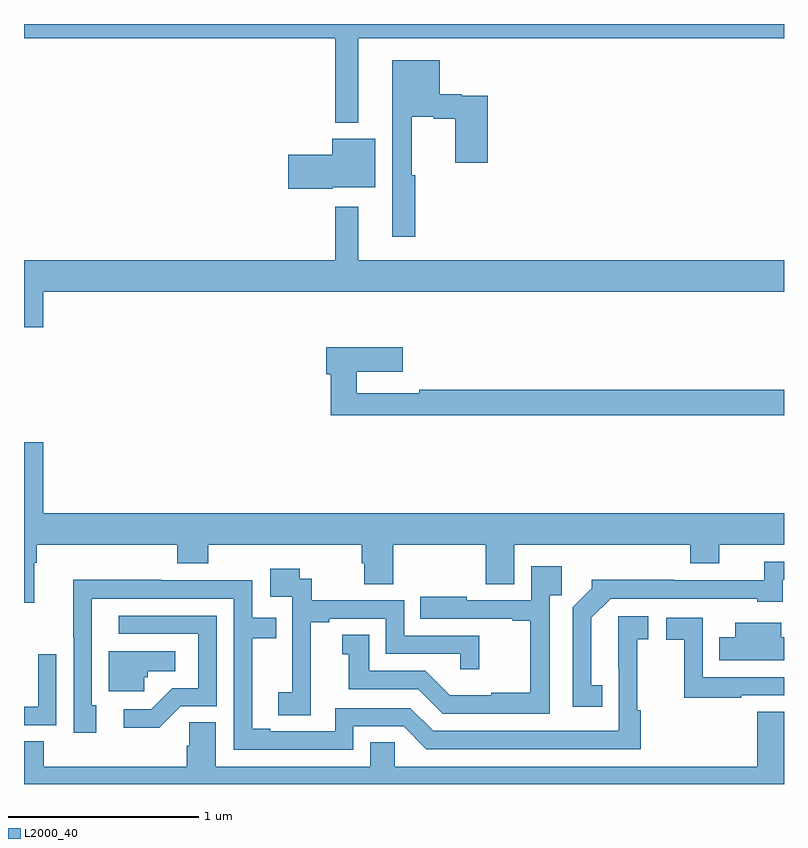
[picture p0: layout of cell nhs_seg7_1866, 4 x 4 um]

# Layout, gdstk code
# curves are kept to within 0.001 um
import gdstk
lib = gdstk.Library(unit=1e-6, precision=1e-09)
def P(c, l, *ps):  # polygons
    for p in ps: c.add(gdstk.Polygon(p, *l))
L2000_40 = (2000, 40)

nhs_seg7_1866 = lib.new_cell('nhs_seg7_1866')
P(nhs_seg7_1866, L2000_40, [(238.759,1025.924),(241,1025.924),(241,1026),(237,1026),(237,1025.924),(238.638,1025.924),(238.638,1025.48),(238.759,1025.48)],
  [(239.059,1025.205),(239.041,1025.205),(239.041,1025.513),(239.156,1025.513),(239.156,1025.501),(239.27,1025.501),(239.27,1025.271),(239.441,1025.271),(239.441,1025.623),(239.304,1025.623),(239.304,1025.631),(239.188,1025.631),(239.188,1025.809),(238.937,1025.809),(238.937,1024.881),(239.059,1024.881)],
  [(238.626,1025.141),(238.849,1025.141),(238.849,1025.395),(238.622,1025.395),(238.622,1025.312),(238.392,1025.312),(238.392,1025.134),(238.626,1025.134)],
  [(237.1,1024.592),(241,1024.592),(241,1024.756),(238.759,1024.756),(238.759,1025.038),(238.638,1025.038),(238.638,1024.756),(237,1024.756),(237,1024.404),(237.1,1024.404)],
  [(241,1024.076),(239.08,1024.076),(239.08,1024.056),(238.751,1024.056),(238.751,1024.169),(238.993,1024.169),(238.993,1024.299),(238.592,1024.299),(238.592,1024.157),(238.615,1024.157),(238.615,1023.94),(241,1023.94)],
  [(237.055,1023.164),(237.068,1023.164),(237.068,1023.26),(237.806,1023.26),(237.806,1023.161),(237.971,1023.161),(237.971,1023.26),(238.778,1023.26),(238.778,1023.162),(238.79,1023.162),(238.79,1023.052),(238.943,1023.052),(238.943,1023.26),(239.429,1023.26),(239.429,1023.052),(239.581,1023.052),(239.581,1023.26),(240.506,1023.26),(240.506,1023.161),(240.658,1023.161),(240.658,1023.26),(241,1023.26),(241,1023.424),(237.1,1023.424),(237.1,1023.799),(237,1023.799),(237,1022.953),(237.055,1022.953)],
  [(240.044,1022.519),(239.986,1022.519),(239.986,1022.875),(240.087,1022.976),(240.858,1022.976),(240.858,1022.96),(240.994,1022.96),(240.994,1023.075),(241,1023.075),(241,1023.171),(240.895,1023.171),(240.895,1023.072),(240.422,1023.072),(240.422,1023.074),(239.988,1023.074),(239.988,1023.029),(239.889,1022.93),(239.889,1022.406),(240.044,1022.406)],
  [(239.766,1022.993),(239.831,1022.993),(239.831,1023.145),(239.67,1023.145),(239.67,1022.967),(239.329,1022.967),(239.329,1022.986),(239.086,1022.986),(239.086,1022.871),(239.573,1022.871),(239.573,1022.859),(239.665,1022.859),(239.665,1022.479),(239.459,1022.479),(239.459,1022.467),(239.24,1022.467),(239.112,1022.595),(238.816,1022.595),(238.816,1022.786),(238.676,1022.786),(238.676,1022.683),(238.709,1022.683),(238.709,1022.499),(239.076,1022.499),(239.205,1022.37),(239.766,1022.37)],
  [(238.508,1022.473),(238.51,1022.473),(238.51,1022.851),(238.606,1022.851),(238.606,1022.871),(238.905,1022.871),(238.905,1022.685),(239.295,1022.685),(239.295,1022.604),(239.396,1022.604),(239.396,1022.781),(239.001,1022.781),(239.001,1022.967),(238.514,1022.967),(238.514,1023.081),(238.452,1023.081),(238.452,1023.133),(238.296,1023.133),(238.296,1022.985),(238.413,1022.985),(238.413,1022.681),(238.412,1022.681),(238.412,1022.484),(238.338,1022.484),(238.338,1022.362),(238.508,1022.362)],
  [(238.734,1022.304),(238.998,1022.304),(239.118,1022.184),(240.245,1022.184),(240.245,1022.387),(240.228,1022.387),(240.228,1022.763),(240.286,1022.763),(240.286,1022.884),(240.128,1022.884),(240.129,1022.28),(239.154,1022.28),(239.034,1022.4),(238.638,1022.4),(238.638,1022.277),(238.297,1022.277),(238.297,1022.292),(238.201,1022.292),(238.201,1022.766),(238.328,1022.766),(238.328,1022.874),(238.2,1022.874),(238.2,1023.072),(237.722,1023.072),(237.722,1023.074),(237.26,1023.074),(237.261,1022.271),(237.379,1022.271),(237.379,1022.415),(237.357,1022.415),(237.357,1022.976),(238.104,1022.976),(238.104,1022.181),(238.734,1022.181)],
  [(237.825,1022.409),(238.014,1022.409),(238.014,1022.886),(237.498,1022.886),(237.498,1022.79),(237.918,1022.79),(237.918,1022.505),(237.78,1022.505),(237.669,1022.394),(237.525,1022.394),(237.525,1022.297),(237.712,1022.297)],
  [(240.776,1022.466),(241,1022.466),(241,1022.562),(240.573,1022.562),(240.573,1022.874),(240.381,1022.874),(240.381,1022.758),(240.475,1022.758),(240.475,1022.454),(240.776,1022.454)],
  [(241,1022.773),(240.985,1022.773),(240.985,1022.848),(240.743,1022.848),(240.743,1022.773),(240.658,1022.773),(240.658,1022.651),(241,1022.651)],
  [(237.633,1022.562),(237.652,1022.562),(237.652,1022.594),(237.796,1022.594),(237.796,1022.698),(237.446,1022.698),(237.446,1022.487),(237.633,1022.487)],
  [(237.171,1022.683),(237.075,1022.683),(237.075,1022.406),(237,1022.406),(237,1022.31),(237.171,1022.31)],
  [(238.009,1022.324),(237.87,1022.324),(237.87,1022.201),(237.857,1022.201),(237.857,1022.092),(237.104,1022.092),(237.104,1022.225),(237,1022.225),(237,1022),(241,1022),(241,1022.381),(240.86,1022.381),(240.86,1022.092),(238.95,1022.092),(238.95,1022.219),(238.823,1022.219),(238.823,1022.092),(238.009,1022.092)])

lib.write_gds('nhs_seg7_1866.gds')
